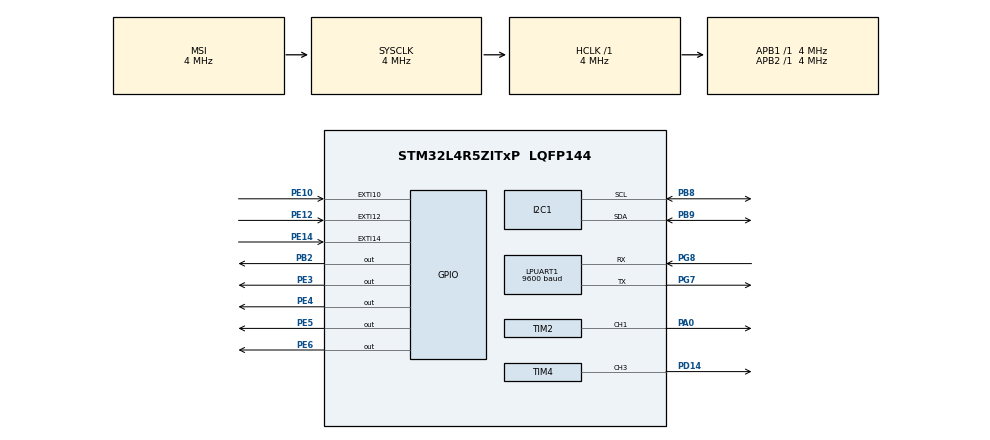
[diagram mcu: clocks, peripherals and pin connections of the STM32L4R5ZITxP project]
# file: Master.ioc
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I2C1.Speed=50
I2C1.Timing=0x00100E3B
LPUART1.BaudRate=9600
LPUART1.WordLength=UART_WORDLENGTH_8B
Mcu.Family=STM32L4
Mcu.Name=STM32L4R5ZITxP
Mcu.Package=LQFP144
NVIC.EXTI15_10_IRQn=true\:3\:0\:true\:false\:true\:true\:true\:true
NVIC.PriorityGroup=NVIC_PRIORITYGROUP_4
NVIC.TIM3_IRQn=true\:5\:0\:true\:false\:true\:true\:true\:true
PA0.Signal=S_TIM2_CH1
PA1.Signal=ADCx_IN6
PA10.Signal=USB_OTG_FS_ID
PA13\ (JTMS/SWDIO).Signal=SYS_JTMS-SWDIO
PA14\ (JTCK/SWCLK).Signal=SYS_JTCK-SWCLK
PA3.Signal=ADCx_IN8
PA4.Signal=SPI1_NSS
PA5.Signal=SPI1_SCK
PA7.Signal=SPI1_MOSI
PA8.Signal=USB_OTG_FS_SOF
PA9.Signal=USB_OTG_FS_VBUS
PB0.Signal=S_TIM3_CH3
PB1.Signal=ADCx_IN16
PB10.Signal=S_TIM2_CH3
PB12.Signal=SAI2_FS_A
PB13.Signal=SAI2_SCK_A
PB14.Signal=S_TIM15_CH1
PB15.Signal=SAI2_SD_A
PB2.Signal=GPIO_Output
PB3\ (JTDO/TRACESWO).Signal=SPI3_SCK
PB4\ (NJTRST).Signal=SPI3_MISO
PB5.Signal=SPI3_MOSI
PB6.Signal=COMP2_INP
PB8.Mode=I2C
PB8.Signal=I2C1_SCL
PB9.Mode=I2C
PB9.Signal=I2C1_SDA
PC0.Signal=ADCx_IN1
PC1.Signal=ADCx_IN2
PC10.Signal=SDMMC1_D2
PC11.Signal=SDMMC1_D3
PC12.Signal=SDMMC1_CK
PC13.Signal=SYS_WKUP2
PC14-OSC32_IN\ (PC14).Signal=RCC_OSC32_IN
PC15-OSC32_OUT\ (PC15).Signal=RCC_OSC32_OUT
PC2.Signal=ADCx_IN3
PC3.Signal=ADCx_IN4
PC4.Signal=ADCx_IN13
PC5.Signal=ADCx_IN14
PC6.Signal=SAI2_MCLK_A
PC7.Signal=S_TIM3_CH2
PC8.Signal=SDMMC1_D0
PC9.Signal=SDMMC1_D1
PD14.Signal=S_TIM4_CH3
PD15.Signal=S_TIM4_CH4
PD2.Signal=SDMMC1_CMD
PD3.Signal=USART2_CTS
PD4.Signal=USART2_RTS
PD5.Signal=USART2_TX
PD6.Signal=USART2_RX
PD8.Signal=USART3_TX
PD9.Signal=USART3_RX
PE0.Signal=S_TIM4_ETR
PE10.GPIO_ModeDefaultEXTI=GPIO_MODE_IT_RISING_FALLING
PE10.Signal=GPXTI10
PE11.Signal=S_TIM1_CH2
PE12.GPIO_ModeDefaultEXTI=GPIO_MODE_IT_RISING_FALLING
PE12.Signal=GPXTI12
PE13.Signal=S_TIM1_CH3
PE14.GPIO_ModeDefaultEXTI=GPIO_MODE_IT_RISING_FALLING
PE14.Signal=GPXTI14
PE15.Signal=TIM1_BKIN
PE2.Signal=SAI1_MCLK_A
PE3.Signal=GPIO_Output
PE4.Signal=GPIO_Output
PE5.Signal=GPIO_Output
PE6.Signal=GPIO_Output
PE7.Signal=S_TIM1_ETR
PE8.Signal=TIM1_CH1N
PE9.Signal=S_TIM1_CH1
PF0.Signal=I2C2_SDA
PF1.Signal=I2C2_SCL
PF2.Signal=I2C2_SMBA
PF7.Signal=SAI1_MCLK_B
PG7.Mode=Asynchronous
PG7.Signal=LPUART1_TX
PG8.Mode=Asynchronous
PG8.Signal=LPUART1_RX
PH0-OSC_IN\ (PH0).Signal=RCC_OSC_IN
PH1-OSC_OUT\ (PH1).Signal=RCC_OSC_OUT
ProjectManager.HeapSize=0x200
ProjectManager.StackSize=0x400
ProjectManager.TargetToolchain=STM32CubeIDE
RCC.ADCFreq_Value=16000000
RCC.AHBFreq_Value=4000000
RCC.APB1Freq_Value=4000000
RCC.APB1TimFreq_Value=4000000
RCC.APB2Freq_Value=4000000
RCC.APB2TimFreq_Value=4000000
RCC.CortexFreq_Value=4000000
RCC.HCLKFreq_Value=4000000
RCC.HSE_VALUE=8000000
RCC.HSI48_VALUE=48000000
RCC.HSI_VALUE=16000000
RCC.LSE_VALUE=32768
RCC.MSI_VALUE=4000000
RCC.SYSCLKFreq_VALUE=4000000
RCC.USBFreq_Value=16000000
RCC.VCOOutputFreq_Value=32000000
SH.ADCx_IN1.0=ADC1_IN1
SH.ADCx_IN13.0=ADC1_IN13
SH.ADCx_IN14.0=ADC1_IN14
SH.ADCx_IN16.0=ADC1_IN16
SH.ADCx_IN2.0=ADC1_IN2
SH.ADCx_IN3.0=ADC1_IN3
SH.ADCx_IN4.0=ADC1_IN4
SH.ADCx_IN6.0=ADC1_IN6
SH.ADCx_IN8.0=ADC1_IN8
SH.S_TIM15_CH1.0=TIM15_CH1
SH.S_TIM1_CH1.0=TIM1_CH1
SH.S_TIM1_CH2.0=TIM1_CH2
SH.S_TIM1_CH3.0=TIM1_CH3
SH.S_TIM1_ETR.0=TIM1_ETR
SH.S_TIM2_CH1.0=TIM2_CH1,PWM Generation1 CH1
SH.S_TIM2_CH3.0=TIM2_CH3
SH.S_TIM3_CH2.0=TIM3_CH2
SH.S_TIM3_CH3.0=TIM3_CH3
SH.S_TIM4_CH3.0=TIM4_CH3,PWM Generation3 CH3
SH.S_TIM4_CH4.0=TIM4_CH4
SH.S_TIM4_ETR.0=TIM4_ETR
TIM2.AutoReloadPreload=TIM_AUTORELOAD_PRELOAD_ENABLE
TIM2.Channel-PWM\ Generation1\ CH1=TIM_CHANNEL_1
TIM2.Period=99
TIM2.Prescaler=39999
TIM2.Pulse-PWM\ Generation1\ CH1=50
TIM3.AutoReloadPreload=TIM_AUTORELOAD_PRELOAD_DISABLE
TIM3.Period=19
TIM3.Prescaler=39999
TIM4.Channel-PWM\ Generation3\ CH3=TIM_CHANNEL_3
TIM4.Period=99
TIM4.Prescaler=3
TIM4.Pulse-PWM\ Generation3\ CH3=50
VP_TIM2_VS_ClockSourceINT.Mode=Internal
VP_TIM3_VS_ClockSourceINT.Mode=Internal
VP_TIM4_VS_ClockSourceINT.Mode=Internal
board=NUCLEO-L4R5ZI-P

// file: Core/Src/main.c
/* USER CODE BEGIN Header */
/**
  ******************************************************************************
  * @file           : main.c
  * @brief          : Main program body
  ******************************************************************************
  * @attention
  *
  * Copyright (c) 2025 STMicroelectronics.
  * All rights reserved.
  *
  * This software is licensed under terms that can be found in the LICENSE file
  * in the root directory of this software component.
  * If no LICENSE file comes with this software, it is provided AS-IS.
  *
  ******************************************************************************
  */
/* USER CODE END Header */
#include "main.h"

/* USER CODE BEGIN Includes */
#include "string.h"
#include "stdio.h"
#include "math.h"
/* USER CODE END Includes */

/* USER CODE BEGIN PD */
#define NHD_W_M 0x50

#define WII_IR_MAXSIZE_REGISTER 0x06
#define WII_IR_GAIN_REGISTER 0x08
#define WII_IR_GAINLIMIT_REGISTER 0x1A
#define WII_IR_MINSIZE_REGISTER 0x1B
#define WII_IR_CONTROL_REGISTER 0x30
#define WII_IR_OUTPUT_MODE_REGISTER 0x33
#define WII_IR_READ_ADDRESS 0x37

#define CAM_WIDTH 1024.0f // .0f decimal + float, prevent integer division
#define CAM_HEIGHT 768.0f
#define CAM_CENTER_X (CAM_WIDTH / 2.0f) // 512
#define CAM_CENTER_Y (CAM_HEIGHT / 2.0f) // 384

#define CAM_FOV_H 33.0f  // horizontal FOV in degrees
#define CAM_FOV_V 23.0f  // vertical FOV in degrees
#define DEG_PER_PIX_X (CAM_FOV_H / CAM_WIDTH)   // 33.0 / 1024.0 deg/pix
#define DEG_PER_PIX_Y (CAM_FOV_V / CAM_HEIGHT)  // 23.0 / 768.0 deg/pix

#define IR_W_M 0xB0 //0x84
#define IR_R_M 0xB1 //0x85

#define TARGET_SIZE 100.0f

/*
coordinate system

origin (0,0) is at the top left corner
x: increases from left-right (0 to 1023)
y: increases from top-bottom (0 to 767)
*/

#define FOCAL_LENGTH_PIXELS 1100.0f // temp estimate wiimote val till calibration
#define IRL_LED_SPACING_MM 130.0f // sample value of 1m=1000mm temporarily
/* USER CODE END PD */

I2C_HandleTypeDef hi2c1;

UART_HandleTypeDef hlpuart1;

TIM_HandleTypeDef htim2;
TIM_HandleTypeDef htim3;
TIM_HandleTypeDef htim4;

/* USER CODE BEGIN PV */
int hapticSwitch = 0;
int laserSwitch = 0;
int soundSwitch = 0;
char distanceDisplay[20] = "";
char hapticDisplay[20] = "";
char laserDisplay[20] = "";
char soundDisplay[20] = "";
int buzzPeriod = 99;
float distance = 0;

float x_center = 0;
float y_center = 0;
float pixel_offset_x = 0;
float pixel_offset_y = 0;
float angular_error_x = 0;
float angular_error_y = 0;
float dist_pix = 0;
float distance_mm = 0;
/* USER CODE END PV */

void SystemClock_Config(void);
static void MX_GPIO_Init(void);
static void MX_I2C1_Init(void);
static void MX_TIM2_Init(void);
static void MX_TIM4_Init(void);
static void MX_LPUART1_UART_Init(void);
static void MX_TIM3_Init(void);

/* USER CODE BEGIN 0 */
void NHD_Command_2(uint8_t cmd) {
    uint8_t buf[2] = {0xFE, cmd};
    HAL_I2C_Master_Transmit(&hi2c1, NHD_W_M, buf, 2, 1000);
    HAL_Delay(2);
}

void NHD_Command_3(uint8_t cmd, uint8_t val) {
    uint8_t buf[3] = {0xFE, cmd, val};
    HAL_I2C_Master_Transmit(&hi2c1, NHD_W_M, buf, 3, 1000);
    HAL_Delay(2);
}

void displayOn() {
	NHD_Command_2(0x41);
}

void displayOff() {
	NHD_Command_2(0x42);
}

void clearScreen() {
	NHD_Command_2(0x51);
}

void cursorHome() {
	NHD_Command_2(0x46);
}

void underlineOn() {
	NHD_Command_2(0x47);
}

void underlineOff() {
	NHD_Command_2(0x48);
}

void blinkOn() {
	NHD_Command_2(0x4b);
}

void blinkOff() {
	NHD_Command_2(0x4c);
}

void setCursor(uint8_t position) {
	NHD_Command_3(0x45, position);
}

void setContrast(uint8_t contrast) {
	NHD_Command_3(0x52, contrast);
}

void setBrightness(uint8_t brightness) {
	NHD_Command_3(0x53, brightness);
}

void shiftLeft() {
	NHD_Command_2(0x55);
}

void shiftRight() {
	NHD_Command_2(0x56);
}

void writeString(char* data) {
	HAL_I2C_Master_Transmit(&hi2c1, NHD_W_M, (uint8_t*)data, strlen(data), 1000);
	HAL_Delay((float)strlen(data)/10);
}

void writeStringFirstLine(char* data) {
	setCursor(0x00);
	writeString(data);
}

void writeStringSecondLine(char* data) {
	setCursor(0x40);
	writeString(data);
}

void writeStringThirdLine(char* data) {
	setCursor(0x14);
	writeString(data);
}

void writeStringFourthLine(char* data) {
	setCursor(0x54);
	writeString(data);
}

void NHDInit() {
	displayOn();
	clearScreen();
	cursorHome();
	underlineOff();
	blinkOff();
	setContrast(40);
	setBrightness(8);
}

void setDistanceDislpay(float distance, char* distanceDisplay) {
	distance = fmodf(distance, 1000.0f);
	sprintf(distanceDisplay, "Distance: %.2f m", distance);
}

void setHapticDisplay(int hapticSwitch, char* hapticDisplay) {
	sprintf(hapticDisplay, "Haptics: %s", hapticSwitch ? "On" : "Off");
}

void setLaserDisplay(int laserSwitch, char* laserDisplay) {
	sprintf(laserDisplay, "Laser: %s", laserSwitch ? "On" : "Off");
}

void setSoundDisplay(int SoundSwitch, char* SoundDisplay) {
	sprintf(SoundDisplay, "Sound: %s", SoundSwitch ? "On" : "Off");
}

void updateBuzzPeriod(int period) {
	if (period < 0) {
		return;
	}
	__HAL_TIM_SET_AUTORELOAD(&htim2, period);
	__HAL_TIM_SET_COMPARE(&htim2, TIM_CHANNEL_1, (period+1)/2);
}

void makeSound(int length) {
	if (length < 0 || !soundSwitch) {
		return;
	}
	__HAL_TIM_SET_COMPARE(&htim2, TIM_CHANNEL_1, buzzPeriod);
	HAL_Delay(length);
	__HAL_TIM_SET_COMPARE(&htim2, TIM_CHANNEL_1, (buzzPeriod+1)/2);
}

void makeHaptic(int length) {
	if (length < 0) {
		return;
	}
	HAL_TIM_PWM_Start(&htim4, TIM_CHANNEL_3);
	HAL_TIM_PWM_Start(&htim4, TIM_CHANNEL_4);
	HAL_Delay(length);
	HAL_TIM_PWM_Stop(&htim4, TIM_CHANNEL_3);
	HAL_TIM_PWM_Stop(&htim4, TIM_CHANNEL_4);
}

void stateInit() {
	hapticSwitch = HAL_GPIO_ReadPin(GPIOE, GPIO_PIN_10);
	laserSwitch = HAL_GPIO_ReadPin(GPIOE, GPIO_PIN_12);
	soundSwitch = HAL_GPIO_ReadPin(GPIOE, GPIO_PIN_14);

	setDistanceDislpay(distance, distanceDisplay);
	setHapticDisplay(hapticSwitch, hapticDisplay);
	setLaserDisplay(laserSwitch, laserDisplay);
	setSoundDisplay(soundSwitch, soundDisplay);
}

void refreshDisplay() {
	clearScreen();
	writeStringFirstLine(distanceDisplay);
	writeStringSecondLine(hapticDisplay);
	writeStringThirdLine(laserDisplay);
	writeStringFourthLine(soundDisplay);
}

void calculateBuzzPeriod() {
	float pixel_offset = pixel_offset_x * pixel_offset_x + pixel_offset_y * pixel_offset_y;
	float pixel_offset_log = log10(pixel_offset - 10);
	buzzPeriod = 40 * pixel_offset_log / 5;
}

void xbee_set_high() {
    HAL_Delay(1200);
    char enter[] = "+++";
    printf("high");
    HAL_UART_Transmit(&hlpuart1, (uint8_t*)enter, 3, 100);
    HAL_Delay(1200);

    // D0 = 5 (digital output high)
    char cmd1[] = "ATD0 5\r";
    HAL_UART_Transmit(&hlpuart1, (uint8_t*)cmd1, strlen(cmd1), 100);

    // apply
    char cmd2[] = "ATAC\r";
    HAL_UART_Transmit(&hlpuart1, (uint8_t*)cmd2, strlen(cmd2), 100);

    // exit
    char cmd3[] = "ATCN\r";
    HAL_UART_Transmit(&hlpuart1, (uint8_t*)cmd3, strlen(cmd3), 100);
}

void xbee_set_low() {
    HAL_Delay(1200);
    char enter[] = "+++";
    printf("low");
    HAL_UART_Transmit(&hlpuart1, (uint8_t*)enter, 3, 100);
    HAL_Delay(1200);

    // D0 = 4 (digital output low)
    char cmd1[] = "ATD0 4\r";  // LOW
    HAL_UART_Transmit(&hlpuart1, (uint8_t*)cmd1, strlen(cmd1), 100);

    // apply
    char cmd2[] = "ATAC\r";
    HAL_UART_Transmit(&hlpuart1, (uint8_t*)cmd2, strlen(cmd2), 100);

    // exit
    char cmd3[] = "ATCN\r";
    HAL_UART_Transmit(&hlpuart1, (uint8_t*)cmd3, strlen(cmd3), 100);
}

void topLEDOn(){
	HAL_GPIO_WritePin(GPIOE, GPIO_PIN_3, GPIO_PIN_SET);
}

void topLEDOff(){
	HAL_GPIO_WritePin(GPIOE, GPIO_PIN_3, GPIO_PIN_RESET);
}

void bottomLEDOn(){
	HAL_GPIO_WritePin(GPIOE, GPIO_PIN_4, GPIO_PIN_SET);
}

void bottomLEDOff(){
	HAL_GPIO_WritePin(GPIOE, GPIO_PIN_4, GPIO_PIN_RESET);
}

void leftLEDOn(){
	HAL_GPIO_WritePin(GPIOE, GPIO_PIN_5, GPIO_PIN_SET);
}

void leftLEDOff(){
	HAL_GPIO_WritePin(GPIOE, GPIO_PIN_5, GPIO_PIN_RESET);
}

void rightLEDOn(){
	HAL_GPIO_WritePin(GPIOE, GPIO_PIN_6, GPIO_PIN_SET);
}

void rightLEDOff(){
	HAL_GPIO_WritePin(GPIOE, GPIO_PIN_6, GPIO_PIN_RESET);
}

void soundOn() {
	HAL_TIM_PWM_Start(&htim2, TIM_CHANNEL_1);
}

void soundOff() {
	HAL_TIM_PWM_Stop(&htim2, TIM_CHANNEL_1);
}

void hapticOn() {
//	HAL_TIM_PWM_Start(&htim4, TIM_CHANNEL_3);
	xbee_set_high();
}

void hapticOff() {
//	HAL_TIM_PWM_Stop(&htim4, TIM_CHANNEL_3);
	xbee_set_low();
}

void laserOn() {
	HAL_GPIO_WritePin(GPIOB, GPIO_PIN_2, GPIO_PIN_SET);
}

void laserOff() {
	HAL_GPIO_WritePin(GPIOB, GPIO_PIN_2, GPIO_PIN_RESET);
}

void updateHaptic() {
	if (!hapticSwitch){
		return;
	}
	if (pixel_offset_x <= TARGET_SIZE && pixel_offset_x >= -TARGET_SIZE && pixel_offset_y <= TARGET_SIZE && pixel_offset_y >= -TARGET_SIZE) {
		hapticOn();
	} else {
		hapticOff();
	}
}

void LEDInit() {
	leftLEDOff();
	rightLEDOff();
	topLEDOff();
	bottomLEDOff();
}

void updateLED() {
	if (pixel_offset_x > TARGET_SIZE) {
		rightLEDOn();
		leftLEDOff();
	} else if (pixel_offset_x < -TARGET_SIZE) {
		leftLEDOn();
		rightLEDOff();
	} else {
		leftLEDOff();
		rightLEDOff();
	}
	if (pixel_offset_y > TARGET_SIZE) {
		topLEDOn();
		bottomLEDOff();
	} else if (pixel_offset_y < -TARGET_SIZE) {
		bottomLEDOn();
		topLEDOff();
	} else {
		bottomLEDOff();
		topLEDOff();
	}
}

void HAL_GPIO_EXTI_Callback(uint16_t pin) {
	if (pin == GPIO_PIN_10) {
		hapticSwitch = HAL_GPIO_ReadPin(GPIOE, GPIO_PIN_10);
		setHapticDisplay(hapticSwitch, hapticDisplay);
	} else if (pin == GPIO_PIN_12) {
		laserSwitch = HAL_GPIO_ReadPin(GPIOE, GPIO_PIN_12);
		setLaserDisplay(laserSwitch, laserDisplay);
		if (laserSwitch) {
			laserOn();
		} else {
			laserOff();
		}
	} else if (pin == GPIO_PIN_14) {
		soundSwitch = HAL_GPIO_ReadPin(GPIOE, GPIO_PIN_14);
		setSoundDisplay(soundSwitch, soundDisplay);
		if (soundSwitch) {
			soundOn();
		} else {
			soundOff();
		}
	}
	refreshDisplay();
}

void wiiCameraInit(){
	uint8_t buf[14] = {WII_IR_CONTROL_REGISTER};
	buf[1] = 0x01; // enable
	HAL_I2C_Master_Transmit(&hi2c1, IR_W_M, &buf[0], 2, 1000);

	// Configure Output Format
	buf[0] = WII_IR_OUTPUT_MODE_REGISTER;
	buf[1] = 0x33; // Medium Output Mode
	HAL_I2C_Master_Transmit(&hi2c1, IR_W_M, &buf[0], 2, 1000);

	// Configure MAXSIZE Register
	buf[0] = WII_IR_MAXSIZE_REGISTER;
	buf[1] = 0x90; // Ranges from 0x00-0xFF, Higher means more sensitive to IR light (but more noise
	HAL_I2C_Master_Transmit(&hi2c1, IR_W_M, &buf[0], 2, 1000);

	// Configure GAIN Register
	buf[0] = WII_IR_GAIN_REGISTER;
	buf[1] = 0xC0; // Ranges from 0x00-0xFF (Increasing means decreasing IR filter)
	HAL_I2C_Master_Transmit(&hi2c1, IR_W_M, &buf[0], 2, 1000);

	// Configure GAINLIMIT Register
	buf[0] = WII_IR_GAINLIMIT_REGISTER;
	buf[1] = 0x40; // Ranges from 0x00-0xFF (Increasing means decreasing sensitivity and false positives)
	HAL_I2C_Master_Transmit(&hi2c1, IR_W_M, &buf[0], 2, 1000);

	// Configure MINSIZE Register
	buf[0] = WII_IR_MINSIZE_REGISTER;
	buf[1] = 0x03; // Ranges from 0x00-0xFF (Decides minimum blobsize: typically valued 3-5)
	HAL_I2C_Master_Transmit(&hi2c1, IR_W_M, &buf[0], 2, 1000);

	// Start Wii Camera Data Collection
	buf[0] = 0x30;
	buf[1] = 0x08;
	HAL_I2C_Master_Transmit(&hi2c1, IR_W_M, &buf[0], 2, 1000);
}

void wiiCameraRead(){
	  uint8_t buf[14];
	  buf[0] = WII_IR_READ_ADDRESS; // Address to read output data
	  HAL_I2C_Master_Transmit(&hi2c1, IR_W_M, &buf[0], 1, 1000);
	  uint8_t data[12];
	  HAL_I2C_Master_Receive(&hi2c1, IR_R_M, &data[0], 12, 1000);

	  int16_t coord[8]; // Pairs of two are the x and y coordinate of each point

	  for(int i = 0; i < 4; i++) {
		// max 10 bits but with a 4:3 aspect ratio,
		// assuming horizontal resolution is 1024,
		// vertical resolution is 1024 * 3/4 = 768
		// 128 x 96 -> scaled up to 1024 x 768
		  coord[0+2*i] = ((data[2+3*i] & 0x30) << 4) | data[0+3*i];
		  coord[1+2*i] = ((data[2+3*i] & 0xC0) << 2) | data[1+3*i];
	  }

	  uint8_t valid_blobs = 0;
	  if(coord[0] < 1023) valid_blobs++;
	  if(coord[1] < 1023) valid_blobs++;
	  if(coord[2] < 1023) valid_blobs++;
	  if(coord[3] < 1023) valid_blobs++;

	  if (valid_blobs == 4){
			// CALCULATIONS START
			// calculate centroid (x_center, y_center)
			x_center = (coord[0] + coord[2] + coord[4] + coord[6]) / 4.0f; // floating pnt division
			y_center = (coord[1] + coord[3] + coord[5] + coord[7]) / 4.0f;

			// calculate angular offset
			pixel_offset_x = x_center - CAM_CENTER_X;
			pixel_offset_y = y_center - CAM_CENTER_Y;
			// (y_center - CAM_CENTER_Y) means positive Y is down
			// (CAM_CENTER_Y - y_center) means positive Y is up
			// depends on orientation
			angular_error_x = pixel_offset_x * DEG_PER_PIX_X;
			angular_error_y = pixel_offset_y * DEG_PER_PIX_Y;

			// calculate distance/depth
			// arbitrarily chosen to be between blob0 and 1
			// fabsf() is floating-point absolute value from math.h
			dist_pix = fabsf((float)coord[2] - (float)coord[0]);

			if (dist_pix > 0) // div by zero prevent
			{
			distance_mm = (FOCAL_LENGTH_PIXELS * IRL_LED_SPACING_MM) / dist_pix;
			}

			// send to LPUART1/Xbee (connect to wherever ig)
//			printf("X:%.2f,Y:%.2f,D:%.1f\r\n", angular_error_x, angular_error_y, distance_mm);

			distance = distance_mm / 1000;

		  // PROBABLY want an if/else for when no target is detected
		  // have to test what the output is if not detected
		  // also have to consider cases for <4 blobs detected?

		  // CALCULATIONS DONE
	  } else {
//		  printf("No Target\r\n");
	  }

	  for(int i = 0; i < 4; i++) {
//		  printf("Coordinate %d: (%d, %d) \r\n", i, coord[0+2*i], coord[1+2*i]);
	  }

	  /* Wii IR Data Read Competed */
}

void HAL_TIM_PeriodElapsedCallback(TIM_HandleTypeDef *htim) {
	if (htim->Instance == TIM3) {
		wiiCameraRead();
		setDistanceDislpay(distance, distanceDisplay);
		calculateBuzzPeriod();
		updateBuzzPeriod(buzzPeriod);
		updateLED();
		updateHaptic();
		refreshDisplay();
	}
}

/* USER CODE END 0 */

int main(void)
{

  /* MCU Configuration--------------------------------------------------------*/

  /* Reset of all peripherals, Initializes the Flash interface and the Systick. */
  HAL_Init();

  /* Configure the system clock */
  SystemClock_Config();

  /* Initialize all configured peripherals */
  MX_GPIO_Init();
  MX_I2C1_Init();
  MX_TIM2_Init();
  MX_TIM4_Init();
  MX_LPUART1_UART_Init();
  MX_TIM3_Init();
  /* USER CODE BEGIN 2 */
  NHDInit();
  stateInit();
  refreshDisplay();
  updateBuzzPeriod(buzzPeriod);
  HAL_TIM_Base_Start_IT(&htim3);
  wiiCameraInit();
  LEDInit();
  /* USER CODE END 2 */

  /* Infinite loop */
  while (1)
  {

    /* USER CODE BEGIN 3 */

	  HAL_Delay(10000);
//	  makeSound(2000);

  }
  /* USER CODE END 3 */
}

void SystemClock_Config(void)
{
  RCC_OscInitTypeDef RCC_OscInitStruct = {0};
  RCC_ClkInitTypeDef RCC_ClkInitStruct = {0};

  /** Configure the main internal regulator output voltage
  */
  if (HAL_PWREx_ControlVoltageScaling(PWR_REGULATOR_VOLTAGE_SCALE1) != HAL_OK)
  {
    Error_Handler();
  }

  /** Initializes the RCC Oscillators according to the specified parameters
  * in the RCC_OscInitTypeDef structure.
  */
  RCC_OscInitStruct.OscillatorType = RCC_OSCILLATORTYPE_MSI;
  RCC_OscInitStruct.MSIState = RCC_MSI_ON;
  RCC_OscInitStruct.MSICalibrationValue = 0;
  RCC_OscInitStruct.MSIClockRange = RCC_MSIRANGE_6;
  RCC_OscInitStruct.PLL.PLLState = RCC_PLL_NONE;
  if (HAL_RCC_OscConfig(&RCC_OscInitStruct) != HAL_OK)
  {
    Error_Handler();
  }

  /** Initializes the CPU, AHB and APB buses clocks
  */
  RCC_ClkInitStruct.ClockType = RCC_CLOCKTYPE_HCLK|RCC_CLOCKTYPE_SYSCLK
                              |RCC_CLOCKTYPE_PCLK1|RCC_CLOCKTYPE_PCLK2;
  RCC_ClkInitStruct.SYSCLKSource = RCC_SYSCLKSOURCE_MSI;
  RCC_ClkInitStruct.AHBCLKDivider = RCC_SYSCLK_DIV1;
  RCC_ClkInitStruct.APB1CLKDivider = RCC_HCLK_DIV1;
  RCC_ClkInitStruct.APB2CLKDivider = RCC_HCLK_DIV1;

  if (HAL_RCC_ClockConfig(&RCC_ClkInitStruct, FLASH_LATENCY_0) != HAL_OK)
  {
    Error_Handler();
  }
}

static void MX_I2C1_Init(void)
{

  hi2c1.Instance = I2C1;
  hi2c1.Init.Timing = 0x00100E3B;
  hi2c1.Init.OwnAddress1 = 0;
  hi2c1.Init.AddressingMode = I2C_ADDRESSINGMODE_7BIT;
  hi2c1.Init.DualAddressMode = I2C_DUALADDRESS_DISABLE;
  hi2c1.Init.OwnAddress2 = 0;
  hi2c1.Init.OwnAddress2Masks = I2C_OA2_NOMASK;
  hi2c1.Init.GeneralCallMode = I2C_GENERALCALL_DISABLE;
  hi2c1.Init.NoStretchMode = I2C_NOSTRETCH_DISABLE;
  if (HAL_I2C_Init(&hi2c1) != HAL_OK)
  {
    Error_Handler();
  }

  /** Configure Analogue filter
  */
  if (HAL_I2CEx_ConfigAnalogFilter(&hi2c1, I2C_ANALOGFILTER_ENABLE) != HAL_OK)
  {
    Error_Handler();
  }

  /** Configure Digital filter
  */
  if (HAL_I2CEx_ConfigDigitalFilter(&hi2c1, 0) != HAL_OK)
  {
    Error_Handler();
  }

}

static void MX_LPUART1_UART_Init(void)
{

  hlpuart1.Instance = LPUART1;
  hlpuart1.Init.BaudRate = 9600;
  hlpuart1.Init.WordLength = UART_WORDLENGTH_8B;
  hlpuart1.Init.StopBits = UART_STOPBITS_1;
  hlpuart1.Init.Parity = UART_PARITY_NONE;
  hlpuart1.Init.Mode = UART_MODE_TX_RX;
  hlpuart1.Init.HwFlowCtl = UART_HWCONTROL_NONE;
  hlpuart1.Init.OneBitSampling = UART_ONE_BIT_SAMPLE_DISABLE;
  hlpuart1.Init.ClockPrescaler = UART_PRESCALER_DIV1;
  hlpuart1.AdvancedInit.AdvFeatureInit = UART_ADVFEATURE_NO_INIT;
  hlpuart1.FifoMode = UART_FIFOMODE_DISABLE;
  if (HAL_UART_Init(&hlpuart1) != HAL_OK)
  {
    Error_Handler();
  }
  if (HAL_UARTEx_SetTxFifoThreshold(&hlpuart1, UART_TXFIFO_THRESHOLD_1_8) != HAL_OK)
  {
    Error_Handler();
  }
  if (HAL_UARTEx_SetRxFifoThreshold(&hlpuart1, UART_RXFIFO_THRESHOLD_1_8) != HAL_OK)
  {
    Error_Handler();
  }
  if (HAL_UARTEx_DisableFifoMode(&hlpuart1) != HAL_OK)
  {
    Error_Handler();
  }

}

static void MX_TIM2_Init(void)
{

  TIM_ClockConfigTypeDef sClockSourceConfig = {0};
  TIM_MasterConfigTypeDef sMasterConfig = {0};
  TIM_OC_InitTypeDef sConfigOC = {0};

  htim2.Instance = TIM2;
  htim2.Init.Prescaler = 39999;
  htim2.Init.CounterMode = TIM_COUNTERMODE_UP;
  htim2.Init.Period = 99;
  htim2.Init.ClockDivision = TIM_CLOCKDIVISION_DIV1;
  htim2.Init.AutoReloadPreload = TIM_AUTORELOAD_PRELOAD_ENABLE;
  if (HAL_TIM_Base_Init(&htim2) != HAL_OK)
  {
    Error_Handler();
  }
  sClockSourceConfig.ClockSource = TIM_CLOCKSOURCE_INTERNAL;
  if (HAL_TIM_ConfigClockSource(&htim2, &sClockSourceConfig) != HAL_OK)
  {
    Error_Handler();
  }
  if (HAL_TIM_PWM_Init(&htim2) != HAL_OK)
  {
    Error_Handler();
  }
  sMasterConfig.MasterOutputTrigger = TIM_TRGO_RESET;
  sMasterConfig.MasterSlaveMode = TIM_MASTERSLAVEMODE_DISABLE;
  if (HAL_TIMEx_MasterConfigSynchronization(&htim2, &sMasterConfig) != HAL_OK)
  {
    Error_Handler();
  }
  sConfigOC.OCMode = TIM_OCMODE_PWM1;
  sConfigOC.Pulse = 50;
  sConfigOC.OCPolarity = TIM_OCPOLARITY_HIGH;
  sConfigOC.OCFastMode = TIM_OCFAST_DISABLE;
  if (HAL_TIM_PWM_ConfigChannel(&htim2, &sConfigOC, TIM_CHANNEL_1) != HAL_OK)
  {
    Error_Handler();
  }
  HAL_TIM_MspPostInit(&htim2);

}

static void MX_TIM3_Init(void)
{

  TIM_ClockConfigTypeDef sClockSourceConfig = {0};
  TIM_MasterConfigTypeDef sMasterConfig = {0};

  htim3.Instance = TIM3;
  htim3.Init.Prescaler = 39999;
  htim3.Init.CounterMode = TIM_COUNTERMODE_UP;
  htim3.Init.Period = 19;
  htim3.Init.ClockDivision = TIM_CLOCKDIVISION_DIV1;
  htim3.Init.AutoReloadPreload = TIM_AUTORELOAD_PRELOAD_DISABLE;
  if (HAL_TIM_Base_Init(&htim3) != HAL_OK)
  {
    Error_Handler();
  }
  sClockSourceConfig.ClockSource = TIM_CLOCKSOURCE_INTERNAL;
  if (HAL_TIM_ConfigClockSource(&htim3, &sClockSourceConfig) != HAL_OK)
  {
    Error_Handler();
  }
  sMasterConfig.MasterOutputTrigger = TIM_TRGO_RESET;
  sMasterConfig.MasterSlaveMode = TIM_MASTERSLAVEMODE_DISABLE;
  if (HAL_TIMEx_MasterConfigSynchronization(&htim3, &sMasterConfig) != HAL_OK)
  {
    Error_Handler();
  }

}

static void MX_TIM4_Init(void)
{

  TIM_ClockConfigTypeDef sClockSourceConfig = {0};
  TIM_MasterConfigTypeDef sMasterConfig = {0};
  TIM_OC_InitTypeDef sConfigOC = {0};

  htim4.Instance = TIM4;
  htim4.Init.Prescaler = 3;
  htim4.Init.CounterMode = TIM_COUNTERMODE_UP;
  htim4.Init.Period = 99;
  htim4.Init.ClockDivision = TIM_CLOCKDIVISION_DIV1;
  htim4.Init.AutoReloadPreload = TIM_AUTORELOAD_PRELOAD_DISABLE;
  if (HAL_TIM_Base_Init(&htim4) != HAL_OK)
  {
    Error_Handler();
  }
  sClockSourceConfig.ClockSource = TIM_CLOCKSOURCE_INTERNAL;
  if (HAL_TIM_ConfigClockSource(&htim4, &sClockSourceConfig) != HAL_OK)
  {
    Error_Handler();
  }
  if (HAL_TIM_PWM_Init(&htim4) != HAL_OK)
  {
    Error_Handler();
  }
  sMasterConfig.MasterOutputTrigger = TIM_TRGO_RESET;
  sMasterConfig.MasterSlaveMode = TIM_MASTERSLAVEMODE_DISABLE;
  if (HAL_TIMEx_MasterConfigSynchronization(&htim4, &sMasterConfig) != HAL_OK)
  {
    Error_Handler();
  }
  sConfigOC.OCMode = TIM_OCMODE_PWM1;
  sConfigOC.Pulse = 50;
  sConfigOC.OCPolarity = TIM_OCPOLARITY_HIGH;
  sConfigOC.OCFastMode = TIM_OCFAST_DISABLE;
  if (HAL_TIM_PWM_ConfigChannel(&htim4, &sConfigOC, TIM_CHANNEL_3) != HAL_OK)
  {
    Error_Handler();
  }
  HAL_TIM_MspPostInit(&htim4);

}

static void MX_GPIO_Init(void)
{
  GPIO_InitTypeDef GPIO_InitStruct = {0};

  /* GPIO Ports Clock Enable */
  __HAL_RCC_GPIOE_CLK_ENABLE();
  __HAL_RCC_GPIOC_CLK_ENABLE();
  __HAL_RCC_GPIOF_CLK_ENABLE();
  __HAL_RCC_GPIOH_CLK_ENABLE();
  __HAL_RCC_GPIOA_CLK_ENABLE();
  __HAL_RCC_GPIOB_CLK_ENABLE();
  __HAL_RCC_GPIOD_CLK_ENABLE();
  __HAL_RCC_GPIOG_CLK_ENABLE();
  HAL_PWREx_EnableVddIO2();

  /*Configure GPIO pin Output Level */
  HAL_GPIO_WritePin(GPIOE, GPIO_PIN_3|GPIO_PIN_4|GPIO_PIN_5|GPIO_PIN_6, GPIO_PIN_RESET);

  /*Configure GPIO pin Output Level */
  HAL_GPIO_WritePin(GPIOB, GPIO_PIN_2, GPIO_PIN_RESET);

  /*Configure GPIO pin : PE2 */
  GPIO_InitStruct.Pin = GPIO_PIN_2;
  GPIO_InitStruct.Mode = GPIO_MODE_AF_PP;
  GPIO_InitStruct.Pull = GPIO_NOPULL;
  GPIO_InitStruct.Speed = GPIO_SPEED_FREQ_LOW;
  GPIO_InitStruct.Alternate = GPIO_AF13_SAI1;
  HAL_GPIO_Init(GPIOE, &GPIO_InitStruct);

  /*Configure GPIO pins : PE3 PE4 PE5 PE6 */
  GPIO_InitStruct.Pin = GPIO_PIN_3|GPIO_PIN_4|GPIO_PIN_5|GPIO_PIN_6;
  GPIO_InitStruct.Mode = GPIO_MODE_OUTPUT_PP;
  GPIO_InitStruct.Pull = GPIO_NOPULL;
  GPIO_InitStruct.Speed = GPIO_SPEED_FREQ_LOW;
  HAL_GPIO_Init(GPIOE, &GPIO_InitStruct);

  /*Configure GPIO pins : PF0 PF1 PF2 */
  GPIO_InitStruct.Pin = GPIO_PIN_0|GPIO_PIN_1|GPIO_PIN_2;
  GPIO_InitStruct.Mode = GPIO_MODE_AF_OD;
  GPIO_InitStruct.Pull = GPIO_NOPULL;
  GPIO_InitStruct.Speed = GPIO_SPEED_FREQ_VERY_HIGH;
  GPIO_InitStruct.Alternate = GPIO_AF4_I2C2;
  HAL_GPIO_Init(GPIOF, &GPIO_InitStruct);

  /*Configure GPIO pin : PF7 */
  GPIO_InitStruct.Pin = GPIO_PIN_7;
  GPIO_InitStruct.Mode = GPIO_MODE_AF_PP;
  GPIO_InitStruct.Pull = GPIO_NOPULL;
  GPIO_InitStruct.Speed = GPIO_SPEED_FREQ_LOW;
  GPIO_InitStruct.Alternate = GPIO_AF13_SAI1;
  HAL_GPIO_Init(GPIOF, &GPIO_InitStruct);

  /*Configure GPIO pins : PC0 PC1 PC2 PC3
                           PC4 PC5 */
  GPIO_InitStruct.Pin = GPIO_PIN_0|GPIO_PIN_1|GPIO_PIN_2|GPIO_PIN_3
                          |GPIO_PIN_4|GPIO_PIN_5;
  GPIO_InitStruct.Mode = GPIO_MODE_ANALOG_ADC_CONTROL;
  GPIO_InitStruct.Pull = GPIO_NOPULL;
  HAL_GPIO_Init(GPIOC, &GPIO_InitStruct);

  /*Configure GPIO pins : PA1 PA3 */
  GPIO_InitStruct.Pin = GPIO_PIN_1|GPIO_PIN_3;
  GPIO_InitStruct.Mode = GPIO_MODE_ANALOG_ADC_CONTROL;
  GPIO_InitStruct.Pull = GPIO_NOPULL;
  HAL_GPIO_Init(GPIOA, &GPIO_InitStruct);

  /*Configure GPIO pins : PA4 PA5 PA7 */
  GPIO_InitStruct.Pin = GPIO_PIN_4|GPIO_PIN_5|GPIO_PIN_7;
  GPIO_InitStruct.Mode = GPIO_MODE_AF_PP;
  GPIO_InitStruct.Pull = GPIO_NOPULL;
  GPIO_InitStruct.Speed = GPIO_SPEED_FREQ_VERY_HIGH;
  GPIO_InitStruct.Alternate = GPIO_AF5_SPI1;
  HAL_GPIO_Init(GPIOA, &GPIO_InitStruct);

  /*Configure GPIO pin : PB1 */
  GPIO_InitStruct.Pin = GPIO_PIN_1;
  GPIO_InitStruct.Mode = GPIO_MODE_ANALOG_ADC_CONTROL;
  GPIO_InitStruct.Pull = GPIO_NOPULL;
  HAL_GPIO_Init(GPIOB, &GPIO_InitStruct);

  /*Configure GPIO pin : PB2 */
  GPIO_InitStruct.Pin = GPIO_PIN_2;
  GPIO_InitStruct.Mode = GPIO_MODE_OUTPUT_PP;
  GPIO_InitStruct.Pull = GPIO_NOPULL;
  GPIO_InitStruct.Speed = GPIO_SPEED_FREQ_LOW;
  HAL_GPIO_Init(GPIOB, &GPIO_InitStruct);

  /*Configure GPIO pins : PE7 PE8 PE9 PE11
                           PE13 */
  GPIO_InitStruct.Pin = GPIO_PIN_7|GPIO_PIN_8|GPIO_PIN_9|GPIO_PIN_11
                          |GPIO_PIN_13;
  GPIO_InitStruct.Mode = GPIO_MODE_AF_PP;
  GPIO_InitStruct.Pull = GPIO_NOPULL;
  GPIO_InitStruct.Speed = GPIO_SPEED_FREQ_LOW;
  GPIO_InitStruct.Alternate = GPIO_AF1_TIM1;
  HAL_GPIO_Init(GPIOE, &GPIO_InitStruct);

  /*Configure GPIO pins : PE10 PE12 PE14 */
  GPIO_InitStruct.Pin = GPIO_PIN_10|GPIO_PIN_12|GPIO_PIN_14;
  GPIO_InitStruct.Mode = GPIO_MODE_IT_RISING_FALLING;
  GPIO_InitStruct.Pull = GPIO_NOPULL;
  HAL_GPIO_Init(GPIOE, &GPIO_InitStruct);

  /*Configure GPIO pin : PE15 */
  GPIO_InitStruct.Pin = GPIO_PIN_15;
  GPIO_InitStruct.Mode = GPIO_MODE_AF_PP;
  GPIO_InitStruct.Pull = GPIO_NOPULL;
  GPIO_InitStruct.Speed = GPIO_SPEED_FREQ_LOW;
  GPIO_InitStruct.Alternate = GPIO_AF3_TIM1_COMP1;
  HAL_GPIO_Init(GPIOE, &GPIO_InitStruct);

  /*Configure GPIO pins : PB12 PB13 PB15 */
  GPIO_InitStruct.Pin = GPIO_PIN_12|GPIO_PIN_13|GPIO_PIN_15;
  GPIO_InitStruct.Mode = GPIO_MODE_AF_PP;
  GPIO_InitStruct.Pull = GPIO_NOPULL;
  GPIO_InitStruct.Speed = GPIO_SPEED_FREQ_LOW;
  GPIO_InitStruct.Alternate = GPIO_AF13_SAI2;
  HAL_GPIO_Init(GPIOB, &GPIO_InitStruct);

  /*Configure GPIO pin : PB14 */
  GPIO_InitStruct.Pin = GPIO_PIN_14;
  GPIO_InitStruct.Mode = GPIO_MODE_AF_PP;
  GPIO_InitStruct.Pull = GPIO_NOPULL;
  GPIO_InitStruct.Speed = GPIO_SPEED_FREQ_LOW;
  GPIO_InitStruct.Alternate = GPIO_AF14_TIM15;
  HAL_GPIO_Init(GPIOB, &GPIO_InitStruct);

  /*Configure GPIO pins : PD8 PD9 */
  GPIO_InitStruct.Pin = GPIO_PIN_8|GPIO_PIN_9;
  GPIO_InitStruct.Mode = GPIO_MODE_AF_PP;
  GPIO_InitStruct.Pull = GPIO_NOPULL;
  GPIO_InitStruct.Speed = GPIO_SPEED_FREQ_VERY_HIGH;
  GPIO_InitStruct.Alternate = GPIO_AF7_USART3;
  HAL_GPIO_Init(GPIOD, &GPIO_InitStruct);

  /*Configure GPIO pin : PC6 */
  GPIO_InitStruct.Pin = GPIO_PIN_6;
  GPIO_InitStruct.Mode = GPIO_MODE_AF_PP;
  GPIO_InitStruct.Pull = GPIO_NOPULL;
  GPIO_InitStruct.Speed = GPIO_SPEED_FREQ_LOW;
  GPIO_InitStruct.Alternate = GPIO_AF13_SAI2;
  HAL_GPIO_Init(GPIOC, &GPIO_InitStruct);

  /*Configure GPIO pins : PC8 PC9 PC10 PC11
                           PC12 */
  GPIO_InitStruct.Pin = GPIO_PIN_8|GPIO_PIN_9|GPIO_PIN_10|GPIO_PIN_11
                          |GPIO_PIN_12;
  GPIO_InitStruct.Mode = GPIO_MODE_AF_PP;
  GPIO_InitStruct.Pull = GPIO_NOPULL;
  GPIO_InitStruct.Speed = GPIO_SPEED_FREQ_VERY_HIGH;
  GPIO_InitStruct.Alternate = GPIO_AF12_SDMMC1;
  HAL_GPIO_Init(GPIOC, &GPIO_InitStruct);

  /*Configure GPIO pins : PA8 PA10 */
  GPIO_InitStruct.Pin = GPIO_PIN_8|GPIO_PIN_10;
  GPIO_InitStruct.Mode = GPIO_MODE_AF_PP;
  GPIO_InitStruct.Pull = GPIO_NOPULL;
  GPIO_InitStruct.Speed = GPIO_SPEED_FREQ_VERY_HIGH;
  GPIO_InitStruct.Alternate = GPIO_AF10_OTG_FS;
  HAL_GPIO_Init(GPIOA, &GPIO_InitStruct);

  /*Configure GPIO pin : PA9 */
  GPIO_InitStruct.Pin = GPIO_PIN_9;
  GPIO_InitStruct.Mode = GPIO_MODE_INPUT;
  GPIO_InitStruct.Pull = GPIO_NOPULL;
  HAL_GPIO_Init(GPIOA, &GPIO_InitStruct);

  /*Configure GPIO pin : PD2 */
  GPIO_InitStruct.Pin = GPIO_PIN_2;
  GPIO_InitStruct.Mode = GPIO_MODE_AF_PP;
  GPIO_InitStruct.Pull = GPIO_NOPULL;
  GPIO_InitStruct.Speed = GPIO_SPEED_FREQ_VERY_HIGH;
  GPIO_InitStruct.Alternate = GPIO_AF12_SDMMC1;
  HAL_GPIO_Init(GPIOD, &GPIO_InitStruct);

  /*Configure GPIO pins : PD3 PD4 PD5 PD6 */
  GPIO_InitStruct.Pin = GPIO_PIN_3|GPIO_PIN_4|GPIO_PIN_5|GPIO_PIN_6;
  GPIO_InitStruct.Mode = GPIO_MODE_AF_PP;
  GPIO_InitStruct.Pull = GPIO_NOPULL;
  GPIO_InitStruct.Speed = GPIO_SPEED_FREQ_VERY_HIGH;
  GPIO_InitStruct.Alternate = GPIO_AF7_USART2;
  HAL_GPIO_Init(GPIOD, &GPIO_InitStruct);

  /*Configure GPIO pins : PB3 PB4 PB5 */
  GPIO_InitStruct.Pin = GPIO_PIN_3|GPIO_PIN_4|GPIO_PIN_5;
  GPIO_InitStruct.Mode = GPIO_MODE_AF_PP;
  GPIO_InitStruct.Pull = GPIO_NOPULL;
  GPIO_InitStruct.Speed = GPIO_SPEED_FREQ_VERY_HIGH;
  GPIO_InitStruct.Alternate = GPIO_AF6_SPI3;
  HAL_GPIO_Init(GPIOB, &GPIO_InitStruct);

  /*Configure GPIO pin : PB6 */
  GPIO_InitStruct.Pin = GPIO_PIN_6;
  GPIO_InitStruct.Mode = GPIO_MODE_ANALOG;
  GPIO_InitStruct.Pull = GPIO_NOPULL;
  HAL_GPIO_Init(GPIOB, &GPIO_InitStruct);

  /* EXTI interrupt init*/
  HAL_NVIC_SetPriority(EXTI15_10_IRQn, 3, 0);
  HAL_NVIC_EnableIRQ(EXTI15_10_IRQn);

  /* USER CODE BEGIN MX_GPIO_Init_2 */
//  HAL_NVIC_SetPriority(EXTI15_10_IRQn, 1, 0);
  /* USER CODE END MX_GPIO_Init_2 */
}

/* USER CODE BEGIN 4 */
#ifdef __GNUC__
#define PUTCHAR_PROTOTYPE int __io_putchar(int ch)
#else
  #define PUTCHAR_PROTOTYPE int fputc(int ch, FILE *f)
#endif /* __GNUC__ */
PUTCHAR_PROTOTYPE
{
  HAL_UART_Transmit(&hlpuart1, (uint8_t *)&ch, 1, 0xFFFF);
  return ch;
}
/* USER CODE END 4 */

void Error_Handler(void)
{
  __disable_irq();
  while (1)
  {
  }
}
